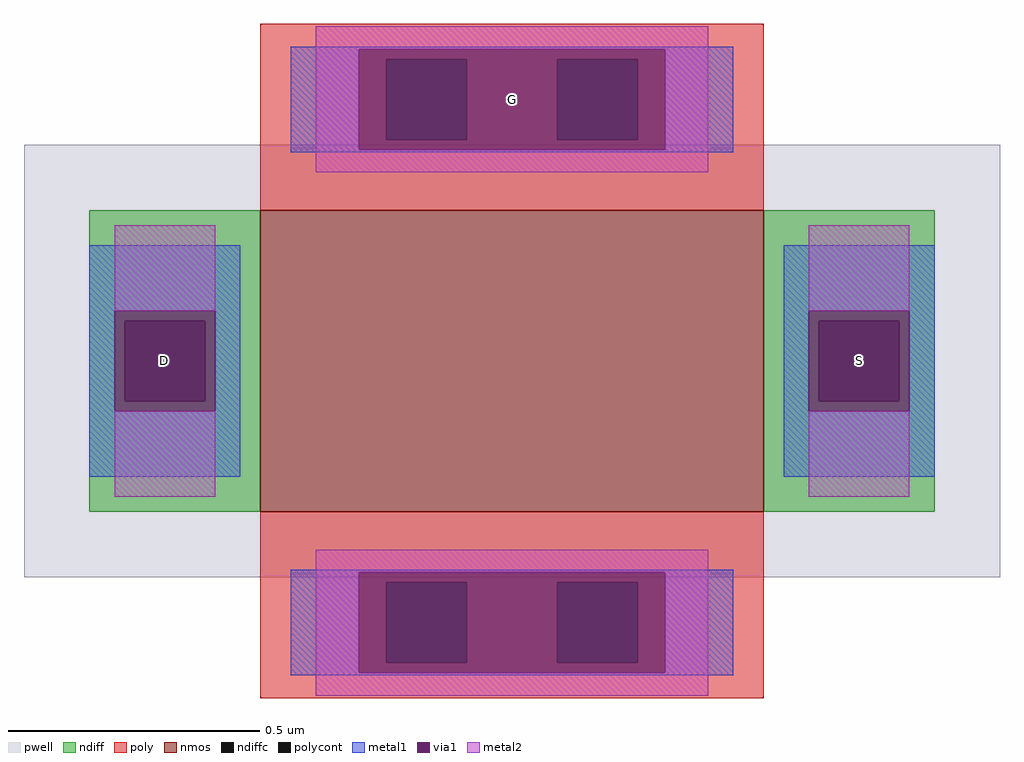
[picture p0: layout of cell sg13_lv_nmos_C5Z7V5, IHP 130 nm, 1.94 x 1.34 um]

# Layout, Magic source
magic
tech ihp-sg13g2
magscale 1 2
<< pwell >>
rect -194 -86 194 86
<< nmos >>
rect -100 -60 100 60
<< ndiff >>
rect -168 16 -100 60
rect -168 -16 -154 16
rect -122 -16 -100 16
rect -168 -60 -100 -16
rect 100 16 168 60
rect 100 -16 122 16
rect 154 -16 168 16
rect 100 -60 168 -16
<< ndiffc >>
rect -154 -16 -122 16
rect 122 -16 154 16
<< poly >>
rect -100 120 100 134
rect -100 88 -50 120
rect -18 88 18 120
rect 50 88 100 120
rect -100 60 100 88
rect -100 -88 100 -60
rect -100 -120 -50 -88
rect -18 -120 18 -88
rect 50 -120 100 -88
rect -100 -134 100 -120
<< polycont >>
rect -50 88 -18 120
rect 18 88 50 120
rect -50 -120 -18 -88
rect 18 -120 50 -88
<< metal1 >>
rect -88 124 88 125
rect -88 84 -61 124
rect 61 84 88 124
rect -88 83 88 84
rect -168 20 -108 46
rect -168 -20 -158 20
rect -118 -20 -108 20
rect -168 -46 -108 -20
rect 108 20 168 46
rect 108 -20 118 20
rect 158 -20 168 20
rect 108 -46 168 -20
rect -88 -84 88 -83
rect -88 -124 -61 -84
rect 61 -124 88 -84
rect -88 -125 88 -124
<< via1 >>
rect -61 120 61 124
rect -61 88 -50 120
rect -50 88 -18 120
rect -18 88 18 120
rect 18 88 50 120
rect 50 88 61 120
rect -61 84 61 88
rect -158 16 -118 20
rect -158 -16 -154 16
rect -154 -16 -122 16
rect -122 -16 -118 16
rect -158 -20 -118 -16
rect 118 16 158 20
rect 118 -16 122 16
rect 122 -16 154 16
rect 154 -16 158 16
rect 118 -20 158 -16
rect -61 -88 61 -84
rect -61 -120 -50 -88
rect -50 -120 -18 -88
rect -18 -120 18 -88
rect 18 -120 50 -88
rect 50 -120 61 -88
rect -61 -124 61 -120
<< metal2 >>
rect -78 124 78 133
rect -78 84 -61 124
rect 61 84 78 124
rect -78 75 78 84
rect -158 20 -118 54
rect -158 -54 -118 -20
rect 118 20 158 54
rect 118 -54 158 -20
rect -78 -84 78 -75
rect -78 -124 -61 -84
rect 61 -124 78 -84
rect -78 -133 78 -124
<< labels >>
rlabel metal1 s -138 0 -138 0 4 D
rlabel metal1 s 138 0 138 0 4 S
rlabel metal1 s 0 104 0 104 4 G
<< end >>
